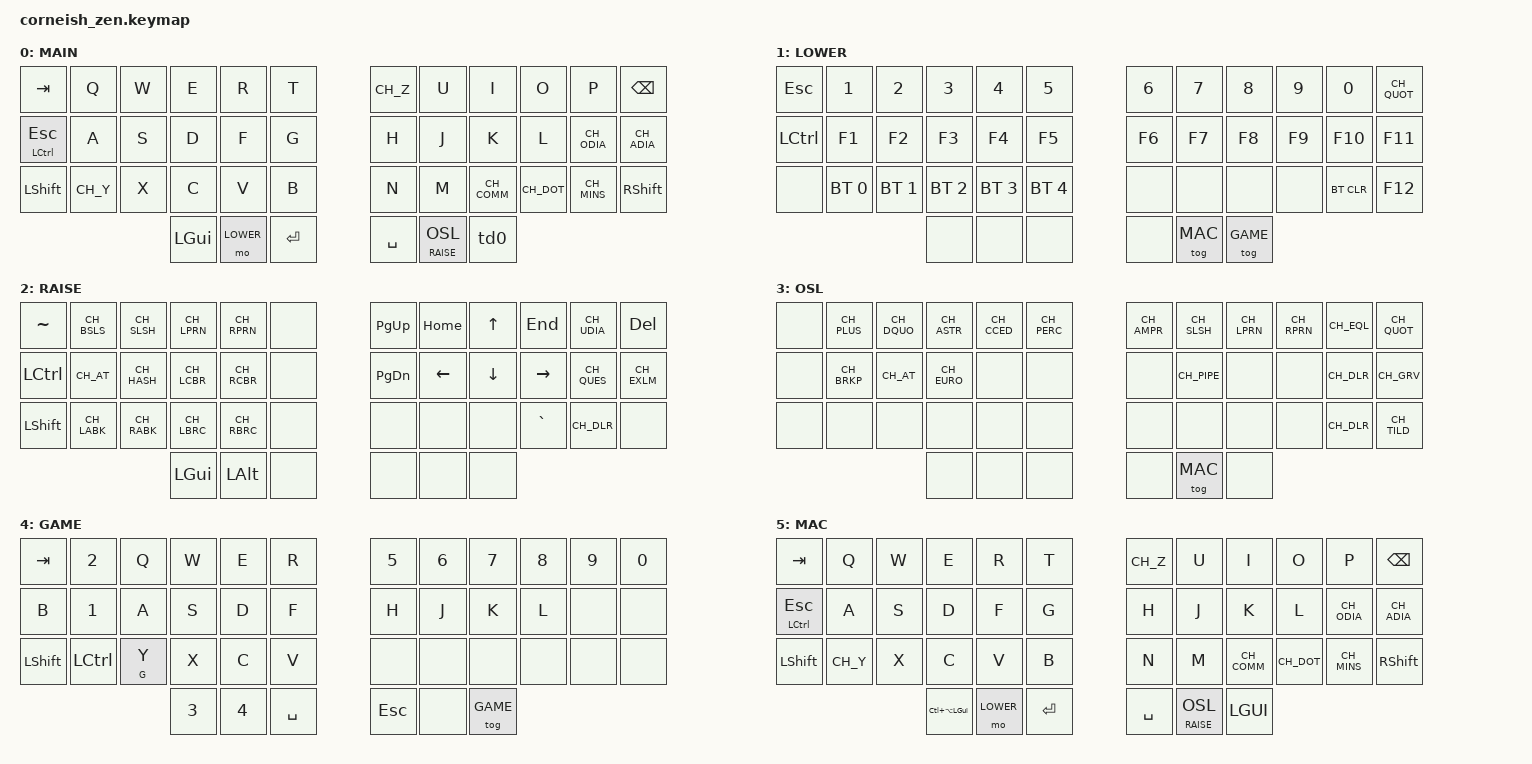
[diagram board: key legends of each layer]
#include "keymap_swiss_de.h"

#define DEFAULT 0
#define LOWER 1
#define RAISE 2
#define OSL   3
#define GAME  4
#define MAC   5
#define HYP_MAC LC(LA(LGUI))

/ {
    chosen {
        zmk,physical-layout = &foostan_corne_6col_layout;
        // zmk,physical-layout = &foostan_corne_5col_layout;
    };
};

&mt {
    tapping-term-ms = <150>;
};

/ {
        behaviors {
          mo_sl: behavior_mo_sl {
              compatible = "zmk,behavior-hold-tap";
              label = "mo_sl";
              #binding-cells = <2>;
              flavor = "hold-preferred";
              tapping-term-ms = <150>;
              bindings = <&mo>, <&sl>;
          };
          kp_sl: behavior_kp_sl {
              compatible = "zmk,behavior-hold-tap";
              label = "kp_kp";
              #binding-cells = <2>;
              flavor = "hold-preferred";
              tapping-term-ms = <150>;
              bindings = <&kp>, <&sl>;
          };
          td0: td_alt_dance {
              compatible = "zmk,behavior-tap-dance";
              label = "ALTD";
              #binding-cells = <0>;
              tapping-term-ms = <150>;
              bindings = <&kp LALT>, <&kp RALT>;
          };
        };

        combos {
            compatible = "zmk,combos";

            combo_LSHIFT {
                timeout-ms = <50>;
                key-positions = <25 26>;
                bindings = <&kp LSHIFT>;
                layers = <5>;
            };
            combo_LCTRL {
                timeout-ms = <50>;
                key-positions = <13 14>;
                bindings = <&mt LCTRL ESC>;
                layers = <5>;
            };
            combo_LCTRLSHIFT {
                timeout-ms = <50>;
                key-positions = <13 14 15>;
                bindings = <&mt LC(LSHIFT) ESC>;
                layers = <5>;
            };
            combo_tab {
                timeout-ms = <50>;
                key-positions = <1 2>;
                bindings = <&kp TAB>;
                layers = <5>;
            };

            combo_RSHIFT {
                timeout-ms = <50>;
                key-positions = <33 34>;
                bindings = <&kp RSHIFT>;
                layers = <5>;
            };
            combo_RCTRL {
                timeout-ms = <50>;
                key-positions = <21 22>;
                bindings = <&kp RCTRL>;
                layers = <5>;
            };
            combo_RCTRLSHIFT {
                timeout-ms = <50>;
                key-positions = <21 22>;
                bindings = <&kp RC(RSHIFT)>;
                layers = <5>;
            };
            combo_BSPC {
                timeout-ms = <50>;
                key-positions = <9 10>;
                bindings = <&kp BSPC>;
                layers = <5>;
            };
            combo_ADIA {
                timeout-ms = <50>;
                key-positions = <20 21>;
                bindings = <&kp CH_ADIA>;
                layers = <5>;
            };
        };

        keymap {
                compatible = "zmk,keymap";

                default_layer {
                        label = "MAIN";
                        bindings = <
//,------------------------------------------------------------------------.      ,-----------------------------------------------------------------------.
  &kp TAB      &kp Q        &kp W        &kp E        &kp R        &kp T           &kp CH_Z    &kp U        &kp I      &kp O       &kp P        &kp BSPC
//|-----------+------------+------------+------------+------------+--------|      |-----------+------------+----------+-----------+------------+----------|
&mt LCTRL ESC  &kp A        &kp S        &kp D        &kp F        &kp G           &kp H       &kp J        &kp K      &kp L       &kp CH_ODIA  &kp CH_ADIA
//|-----------+------------+------------+------------+------------+--------|      |-----------+------------+----------+-----------+------------+----------|
  &kp LSHFT    &kp CH_Y     &kp X        &kp C        &kp V        &kp B           &kp N       &kp M        &kp CH_COMM &kp CH_DOT &kp CH_MINS  &kp RSHIFT
//|-----------+------------+------------+------------+------------+--------|      |-----------+------------+----------+-----------+------------+----------|
                                         &kp LGUI     &mo LOWER    &kp RET         &kp SPACE   &mo_sl RAISE OSL &td0
                                      //`----------------------------------'      `-----------------------------------'
                        >;
                };
                lower_layer {
                        label = "LOWER";
                        bindings = <
//,------------------------------------------------------------------------.      ,-----------------------------------------------------------------------.
  &kp ESC      &kp N1       &kp N2       &kp N3       &kp N4       &kp N5          &kp N6      &kp N7       &kp N8     &kp N9      &kp N0       &kp CH_QUOT
//|-----------+------------+------------+------------+------------+--------|      |-----------+------------+----------+-----------+------------+----------|
  &kp LCTRL    &kp F1       &kp F2       &kp F3       &kp F4       &kp F5          &kp F6      &kp F7       &kp F8     &kp F9      &kp F10      &kp F11
//|-----------+------------+------------+------------+------------+--------|      |-----------+------------+----------+-----------+------------+----------|
  &none        &bt BT_SEL 0 &bt BT_SEL 1 &bt BT_SEL 2 &bt BT_SEL 3 &bt BT_SEL 4    &none       &none        &none      &none       &bt BT_CLR   &kp F12
//|-----------+------------+------------+------------+------------+--------|      |-----------+------------+----------+-----------+------------+----------|
                          	             &none        &none        &none           &none       &tog MAC &tog GAME
                                      //`----------------------------------'      `-----------------------------------'
                        >;
                };
                raise_layer {
                        label = "RAISE";
                        bindings = <
//,------------------------------------------------------------------------.      ,-----------------------------------------------------------------------.
  &kp TILDE    &kp CH_BSLS  &kp CH_SLSH  &kp CH_LPRN  &kp CH_RPRN  &none           &kp PG_UP    &kp HOME     &kp UP      &kp END    &kp CH_UDIA  &kp DEL
//|-----------+------------+------------+------------+------------+--------|      |-----------+------------+----------+-----------+------------+----------|
  &kp LCTRL    &kp CH_AT    &kp CH_HASH  &kp CH_LCBR  &kp CH_RCBR  &none           &kp PG_DN    &kp LEFT     &kp DOWN    &kp RIGHT  &kp CH_QUES  &kp CH_EXLM
//|-----------+------------+------------+------------+------------+--------|      |-----------+-----------+------------+----------+------------+----------|
  &kp LSHFT    &kp CH_LABK  &kp CH_RABK  &kp CH_LBRC  &kp CH_RBRC  &none           &none        &none        &none       &kp GRAVE  &kp CH_DLR   &none
//|-----------+------------+------------+------------+------------+--------|      |-----------+------------+----------+-----------+------------+----------|
                                         &kp LGUI     &kp LALT     &none           &none       &none        &none
                                      //`----------------------------------'      `-----------------------------------'
                        >;
                };
                OSL {
                        label = "OSL";
                        bindings = <
//,------------------------------------------------------------------------.      ,-----------------------------------------------------------------------.
  &none        &kp CH_PLUS  &kp CH_DQUO  &kp CH_ASTR  &kp CH_CCED  &kp CH_PERC     &kp CH_AMPR &kp CH_SLSH  &kp CH_LPRN &kp CH_RPRN &kp CH_EQL   &kp CH_QUOT
//|-----------+------------+------------+------------+------------+--------|      |-----------+------------+----------+-----------+------------+----------|
  &none        &kp CH_BRKP  &kp CH_AT    &kp CH_EURO  &none        &none           &none       &kp CH_PIPE &none        &none       &kp CH_DLR   &kp CH_GRV
//|-----------+------------+------------+------------+------------+--------|      |-----------+------------+----------+-----------+------------+----------|
  &none        &none        &none        &none        &none        &none           &none       &none         &none      &none       &kp CH_DLR   &kp CH_TILD
//|-----------+------------+------------+------------+------------+--------|      |-----------+------------+----------+-----------+------------+----------|
                                         &none        &none        &none           &none       &tog MAC        &none
                                      //`----------------------------------'      `-----------------------------------'
                        >;
                };
                GAME {
                        label = "GAME";
                        bindings = <
//,------------------------------------------------------------------------.      ,-----------------------------------------------------------------------.
  &kp TAB      &kp N2       &kp Q        &kp W        &kp E        &kp R           &kp N5      &kp N6       &kp N7     &kp N8      &kp N9       &kp N0
//|-----------+------------+------------+------------+------------+--------|      |-----------+------------+----------+-----------+------------+----------|
  &kp B        &kp N1       &kp A        &kp S        &kp D        &kp F           &kp H       &kp J        &kp K      &kp L       &none        &none
//|-----------+------------+------------+------------+------------+--------|      |-----------+------------+----------+-----------+------------+----------|
  &kp LSHFT    &kp LCTRL    &mt G Y      &kp X        &kp C        &kp V           &none       &none        &none      &none       &none        &none
//|-----------+------------+------------+------------+------------+--------|      |-----------+------------+----------+-----------+------------+----------|
                                         &kp N3       &kp N4       &kp SPACE       &kp ESC     &none        &tog GAME
                                      //`----------------------------------'      `-----------------------------------'
                        >;
                };
                MAC {
                        label = "MAC";
                        bindings = <
//,------------------------------------------------------------------------.      ,-----------------------------------------------------------------------.
  &kp TAB      &kp Q        &kp W        &kp E        &kp R        &kp T           &kp CH_Z    &kp U        &kp I      &kp O       &kp P        &kp BSPC
//|-----------+------------+------------+------------+------------+--------|      |-----------+------------+----------+-----------+------------+----------|
&mt LCTRL ESC  &kp A        &kp S        &kp D        &kp F        &kp G           &kp H       &kp J        &kp K      &kp L       &kp CH_ODIA  &kp CH_ADIA
//|-----------+------------+------------+------------+------------+--------|      |-----------+------------+----------+-----------+------------+----------|
  &kp LSHFT    &kp CH_Y     &kp X        &kp C        &kp V        &kp B           &kp N       &kp M        &kp CH_COMM &kp CH_DOT &kp CH_MINS  &kp RSHIFT
//|-----------+------------+------------+------------+------------+--------|      |-----------+------------+----------+-----------+------------+----------|
                                         &kp HYP_MAC  &mo LOWER    &kp RET         &kp SPACE   &mo_sl RAISE OSL &LGUI
                                      //`----------------------------------'      `-----------------------------------'
                        >;
                };
        };
};


